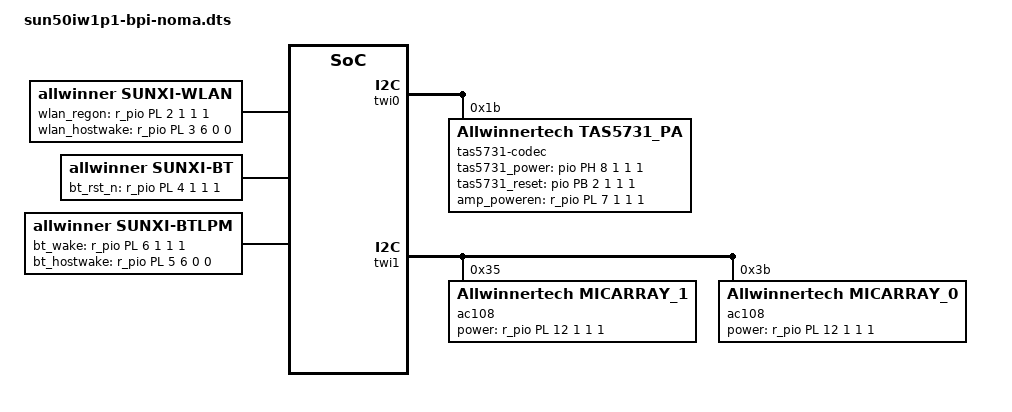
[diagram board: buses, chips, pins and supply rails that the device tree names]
/*
 * Allwinner Technology CO., Ltd. sun50iw1p1 fpga board.
 *
 * fpga board support.
 */

/dts-v1/;

#include "sun50iw1p1.dtsi"

/{
	soc@01c00000 {
		twi0: twi@0x01c2ac00 {
			status = "okay";
			tas5731-codec@1b{
				compatible = "Allwinnertech,tas5731_PA";
				tas5731_power = <&pio PH 8 1 1 1 1>;
				tas5731_reset = <&pio PB 2 1 1 1 1>;
				amp_poweren = <&r_pio PL 7 1 1 1 1>;
				regulator_name = "vcc-amp";
				reg = <0x1b>;
			};
		};
		twi1: twi@0x01c2b000 {
			status = "okay";
			ac108@35{
				compatible = "Allwinnertech,MicArray_1";
				debug_mode = <0>;
				pga_gain = <0x32>;
				ref_pga_gain = <0x08>;
				ref_chip_addr = <0x3b>;
				ref_channel_num = <0x2>;
				pa_double_used = <0x1>;
				codec_mic_used = <0x0>;
				gpio-power = <&r_pio PL 12 1 1 1 1>;
				twi_bus = <1>;
				voltage_enable = "nocare";
				power_vol = <0x0>;
				slot_width = <0x18>;
				reg = <0x35>;
			};
			ac108@3b{
				compatible = "Allwinnertech,MicArray_0";
				reg = <0x3b>;
				debug_mode = <0>;
				pga_gain = <0x32>;
				ref_pga_gain = <0x08>;
				ref_chip_addr = <0x3b>;
				ref_channel_num = <0x2>;
				pa_double_used = <0x1>;
				codec_mic_used = <0x0>;
				twi_bus = <1>;
				voltage_enable = "nocare";
				gpio-power = <&r_pio PL 12 1 1 1 1>;
				power_vol = <0x0>;
				slot_width = <0x18>;
			};
		};
		snddaudio0:sound@1 {
			sunxi,snddaudio-codec = "ac108.1-0035";
			sunxi,snddaudio-codec-dai = "ac108-pcm1";
		};
		snddaudio1:sound@2 {
			sunxi,snddaudio-codec = "tas5731-codec.0-001b";
			sunxi,snddaudio-codec-dai = "tas5731_audio";
		};
		keyboard0:keyboard {
			key_cnt = <5>;
			key0 = <191 115>;
			key1 = <391 114>;
			key2 = <600 113>;
			key3 = <794 115>;
			key4 = <987 114>;
		};
	};
	wlan:wlan {
		compatible = "allwinner,sunxi-wlan";
		wlan_power = "vcc-wifi";
		wlan_io_regulator = "vcc-wifi-io";
		wlan_busnum = <1>;
		wlan_regon = <&r_pio PL 2 1 1 1 0>;
		wlan_hostwake = <&r_pio PL 3 6 0 0 0>;
		status = "okay";
	};

	bt:bt {
		compatible = "allwinner,sunxi-bt";
		bt_power = "vcc-wifi";
		bt_io_regulator = "vcc-wifi-io";
		bt_rst_n = <&r_pio PL 4 1 1 1 0>;
		status = "okay";
	};

	btlpm:btlpm {
		compatible = "allwinner,sunxi-btlpm";
		uart_index = <1>;
		bt_wake = <&r_pio PL 6 1 1 1 1>;
		bt_hostwake = <&r_pio PL 5 6 0 0 0>;
		status = "okay";
	};

};
